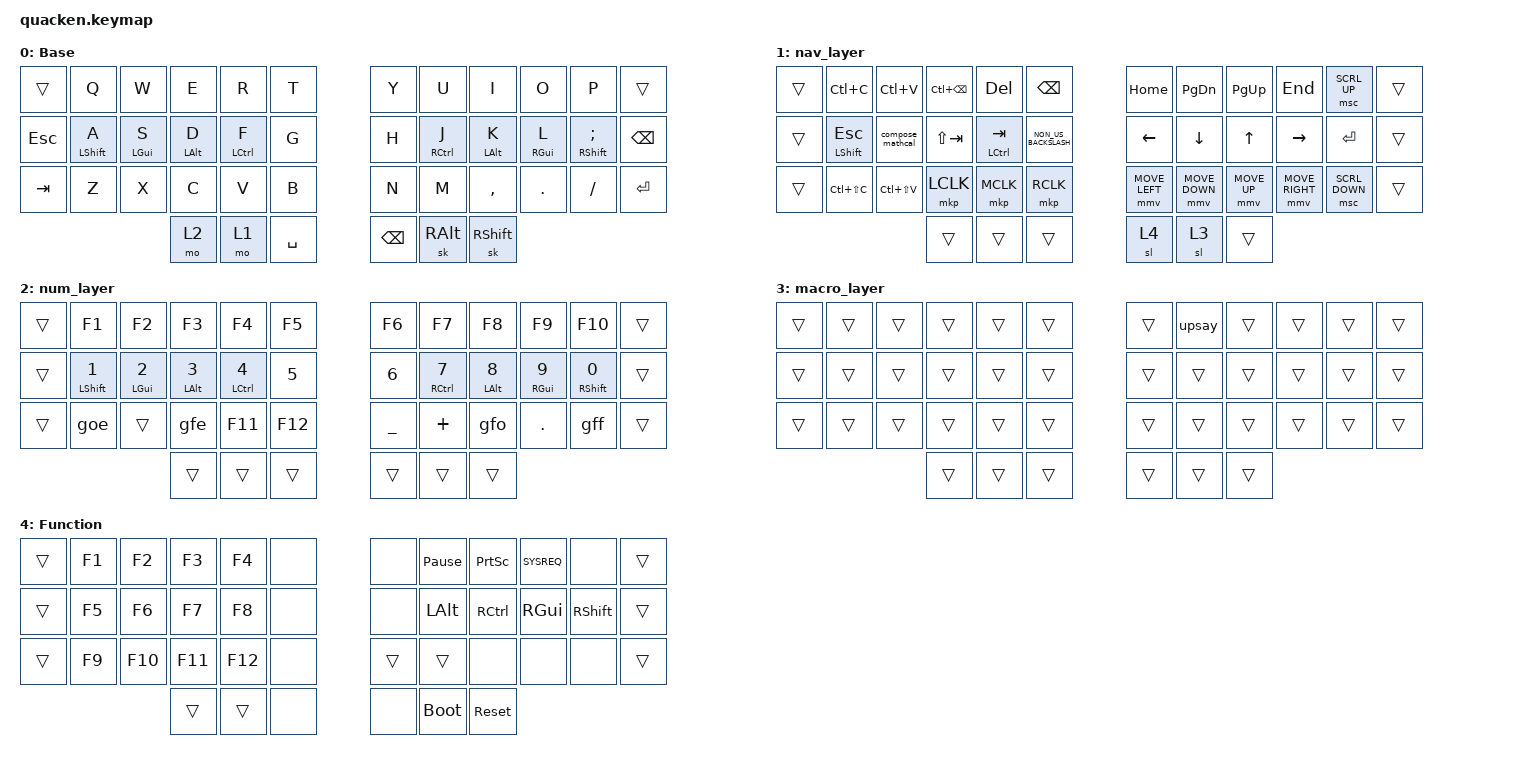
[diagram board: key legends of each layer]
#include <behaviors.dtsi>
#include <dt-bindings/zmk/keys.h>

// Timing is key.
#define HRM // comment this line to disable home-row mods
#define TAPPING_TERM 225
#include "timing.h"

// Mouse emulation
#include <dt-bindings/zmk/pointing.h>

// Layout-specific actions and symbols.
#define CMD RC // PC
// #define CMD RG // Mac
// This is a sane default for most US layouts:
// #include "actions.h"
// #include "symbols.h"
// Other layouts can adjust accordingly:
#include "actions_ergol.h"
#include "symbols_ergol.h"

/ {
    /* combos { */
    /*     compatible = "zmk,combos"; */
    /*     require-prior-idle-ms = <100>; */
    /*     timeout-ms = <65>; */
    /*  */
    /*     ENTER_COMBO { */
    /*         bindings = <&kp ENTER>; */
    /*         key-positions = <19 20>; */
    /*     }; */
    /*      */
	/* ENTER_COMBO2 { */
    /*         bindings = <&kp ENTER>; */
    /*         key-positions = <20 21>; */
    /*     }; */
    /*  */
    /* }; */

    macros {
        /* Patrick: Patrick_macro { */
        /*     compatible = "zmk,behavior-macro"; */
        /*     #binding-cells = <0>; */
        /*     bindings = <&kp LS(P) &kp A &kp T &kp R &kp I &kp C &kp K>; */
        /*     label = "PATRICK_MACRO"; */
        /* }; */
        /*  */
        /* Massot: Massot_macro { */
        /*     compatible = "zmk,behavior-macro"; */
        /*     #binding-cells = <0>; */
        /*     bindings = <&kp SPACE &kp LS(M) &kp A &kp S &kp S &kp O &kp T>; */
        /*     label = "MASSOT_MACRO"; */
        /* }; */

        gfo: gfo {
            compatible = "zmk,behavior-macro";
            #binding-cells = <0>;
            bindings = <&kt LEFT_SHIFT &kp N9 &kp SPACE &kt LSHFT>;
            label = "GFO";
        };

        gff: gff {
            compatible = "zmk,behavior-macro";
            #binding-cells = <0>;
            bindings = <&kt LEFT_SHIFT &kp SPACE &kp N0 &kt LSHFT>;
            label = "GFF";
        };

        goe: goe {
            compatible = "zmk,behavior-macro";
            #binding-cells = <0>;
            bindings = <&kp SEMICOLON &kp NUMBER_2>;
            label = "GOE";
        };

        gfe: gfe {
            compatible = "zmk,behavior-macro";
            #binding-cells = <0>;
            bindings = <&kp SEMICOLON &kp NUMBER_3>;
            label = "GFE";
        };

        upsay: upsay {
            compatible = "zmk,behavior-macro";
            #binding-cells = <0>;
            bindings = <&none &kp U &kp N &kp I &kp V &kp E &kp R &kp S &kp I &kp T &kp E &kp MINUS &kp P &kp A &kp R &kp I &kp S &kp MINUS &kp S &kp A &kp C &kp L &kp A &kp Y &kp DOT &kp F &kp R>;
            label = "UPSAY";
        };
        compose_mathcal: compose_mathcal {
            compatible = "zmk,behavior-macro";
            #binding-cells = <0>;
            bindings = <&kp NON_US_BACKSLASH  &kp AMPS> ;
            label = "COMPOSE_MATHCAL";
        };
    };

    keymap {
        compatible = "zmk,keymap";

        // 0. Base layer -- keep the QWERTY key codes to use your OS keyboard layout
        //               -- the Space Cadet layer-tap on the right can be replaced by an AltGr/Enter mod-tap
        //               -- adjust the homerow mods with the #define statements above
        default_layer {
            display-name = "Base";
            bindings = <
   &trans    &kp Q             &kp W          &kp E          &kp R       &kp T       &kp Y          &kp U       &kp I           &kp O      &kp P                 &trans
   &kp ESC   &mt LEFT_SHIFT A  &mt LEFT_GUI S &mt LEFT_ALT D &mt LCTRL F &kp G       &kp H          &mt RCTRL J &mt LEFT_ALT K  &mt RGUI L &mt RSHIFT SEMICOLON  &kp BSPC
   &kp TAB   &kp Z             &kp X          &kp C          &kp V       &kp B       &kp N          &kp M       &kp COMMA       &kp DOT    &kp FSLH              &kp ENTER
                                              &mo 2          &mo 1       &kp SPACE   &kp BACKSPACE  &sk RALT    &sk RIGHT_SHIFT
            >;
        };
        
	nav_layer {
            bindings = <
&trans  &kp LC(C)       &kp LC(V)        &kp LC(BACKSPACE) &kp DELETE    &kp BACKSPACE        &kp HOME       &kp PAGE_DOWN  &kp PG_UP     &kp END         &msc SCRL_UP   &trans
&trans  &mt LSHIFT ESC  &compose_mathcal &kp LS(TAB)       &mt LCTRL TAB &kp NON_US_BACKSLASH &kp LEFT       &kp DOWN       &kp UP        &kp RIGHT       &kp ENTER      &trans
&trans  &kp LC(LS(C))   &kp LC(LS(V))    &mkp LCLK         &mkp MCLK     &mkp RCLK            &mmv MOVE_LEFT &mmv MOVE_DOWN &mmv MOVE_UP  &mmv MOVE_RIGHT &msc SCRL_DOWN &trans
                                    &trans             &trans      &trans           &sl 4        &sl 3          &trans
            >;
        };

        num_layer {
            bindings = <
 &trans &kp F1                  &kp F2                &kp F3                &kp F4             &kp F5       &kp F6       &kp F7             &kp F8                &kp F9            &kp F10             &trans
 &trans &mt LEFT_SHIFT NUMBER_1 &mt LEFT_GUI NUMBER_2 &mt LEFT_ALT NUMBER_3 &mt LCTRL NUMBER_4 &kp NUMBER_5 &kp NUMBER_6 &mt RCTRL NUMBER_7 &mt LEFT_ALT NUMBER_8 &mt RGUI NUMBER_9 &mt RSHIFT NUMBER_0 &trans
 &trans &goe                    &trans                &gfe                  &kp F11            &kp F12      &kp UNDER    &kp PLUS           &gfo                  &kp DOT           &gff                &trans
 &trans &trans                  &trans                &trans                &trans             &trans
            >;
        };

        macro_layer {
            bindings = <
&trans  &trans  &trans   &trans   &trans     &trans    &trans  &upsay   &trans &trans       &trans  &trans
&trans  &trans  &trans   &trans   &trans  &trans    &trans  &trans   &trans &trans  &trans    &trans
&trans  &trans  &trans  &trans  &trans  &trans    &trans  &trans  &trans   &trans       &trans    &trans
                        &trans   &trans  &trans    &trans  &trans   &trans
            >;
        };

        // 5. Function layer -- F1..12 pad on the left hand, HRM on the right hand (with an additional Shift key)
        //                   -- reset and bootloader reset on difficult thumb keys
        //                   -- could be completed with other rare keys
        function {
            display-name = "Function";
            bindings = <
   &trans  &kp F1  &kp F2  &kp F3  &kp F4  &none         &none       &kp PAUSE_BREAK &kp PSCRN &kp SYSREQ &none      &trans
   &trans  &kp F5  &kp F6  &kp F7  &kp F8  &none         &none       &kp LALT        &kp RCTL  &kp RGUI   &kp RSHIFT &trans
   &trans  &kp F9  &kp F10 &kp F11 &kp F12 &none         &trans      &trans     &none     &none      &none      &trans
                           &trans  &trans  &none         &none       &bootloader   &sys_reset
            >;
        };
    };
};
